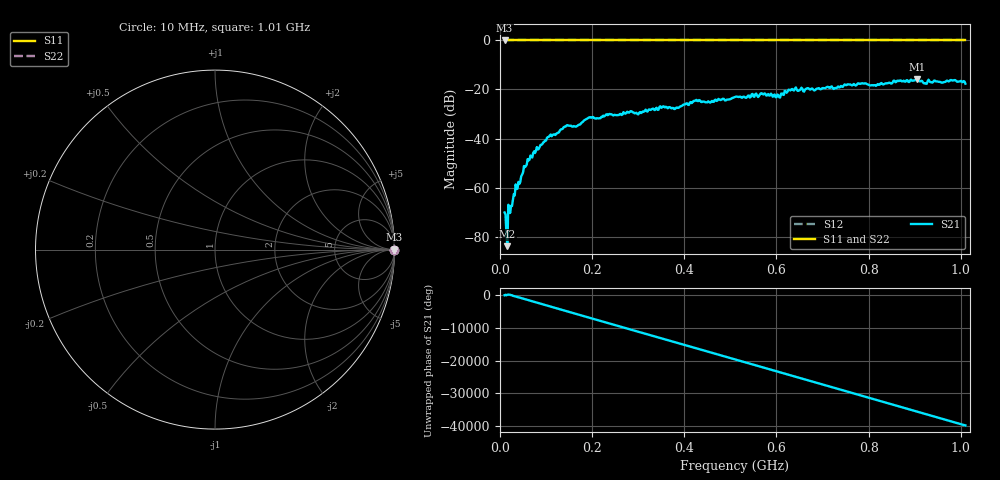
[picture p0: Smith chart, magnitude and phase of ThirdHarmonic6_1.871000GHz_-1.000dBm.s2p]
! 8/16/2025 10:37:04 PM
! C:\ANRITSUVNA\TEMP\TEMP.S2P
! CHANNEL.1
! TR.MEASUREMENT
! RAW.DATA
! RF.CORRECTION.OFF
! AVERAGING.OFF
! IF.BANDWIDTH: 5KHZ
! SWEEPTYPE:  FREQ.SWEEP(Linear)
! Reference Plane Port Info
! PORT:  PORT1  PORT2
! DISTANCE:  0  m  0  m
! TIME:  0  s  0  s
! PHASE.OFFSET:  0  deg.  0  deg.
! LOSS:  0  dB  0  dB
! REF.LOSS:  0  dB  0  dB
! REF.FREQ:  0  Hz  0  Hz
! Power Info
! POWER:  -20  dBm  -20  dBm
! EFF.POWER:  -20  dBm  -20  dBm
! SOURCE.ATTEN:  0  dB  0  dB
! TEST.ATTEN:  0  dB  0  dB
# GHZ S RI R 50.0
! FREQ.GHZ  S11RE  S11IM  S21RE  S21IM  S12RE  S12IM  S22RE  S22IM
!; PortSelection: Port_12
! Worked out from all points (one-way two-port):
!   501 points, 10 MHz to 1.01 GHz, reference 50 ohm
!   highest |S21| = -15.88 dB at 906 MHz (marker M1); lowest = -83.9 dB at 16 MHz (marker M2)
!   lowest |S11| = 0.0 dB at 10 MHz (marker M3)
!   |S11| at or under -10 dB: nowhere
!   |S22| runs from 0.0 to 0.0 dB; largest |S21 - S12| = 1.2
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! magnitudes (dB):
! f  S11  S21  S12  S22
! 10 MHz  0.0  -70.2  0.0  0.0
! 12 MHz  0.0  -71.1  0.0  0.0
! 16 MHz  0.0  -83.9  0.0  0.0
! 18 MHz  0.0  -67.0  0.0  0.0
! 22 MHz  0.0  -70.4  0.0  0.0
! 32 MHz  0.0  -63.2  0.0  0.0
! 50 MHz  0.0  -53.9  0.0  0.0
! 76 MHz  0.0  -45.9  0.0  0.0
! 106 MHz  0.0  -39.3  0.0  0.0
! 142 MHz  0.0  -35.2  0.0  0.0
! 178 MHz  0.0  -33.4  0.0  0.0
! 196 MHz  0.0  -31.3  0.0  0.0
! 344 MHz  0.0  -28.3  0.0  0.0
! 510 MHz  0.0  -23.0  0.0  0.0
! 570 MHz  0.0  -21.9  0.0  0.0
! 604 MHz  0.0  -22.3  0.0  0.0
! 630 MHz  0.0  -20.4  0.0  0.0
! 678 MHz  0.0  -19.6  0.0  0.0
! 844 MHz  0.0  -17.3  0.0  0.0
! 906 MHz  0.0  -15.9  0.0  0.0
! 922 MHz  0.0  -17.4  0.0  0.0
! 1.01 GHz  0.0  -17.6  0.0  0.0
